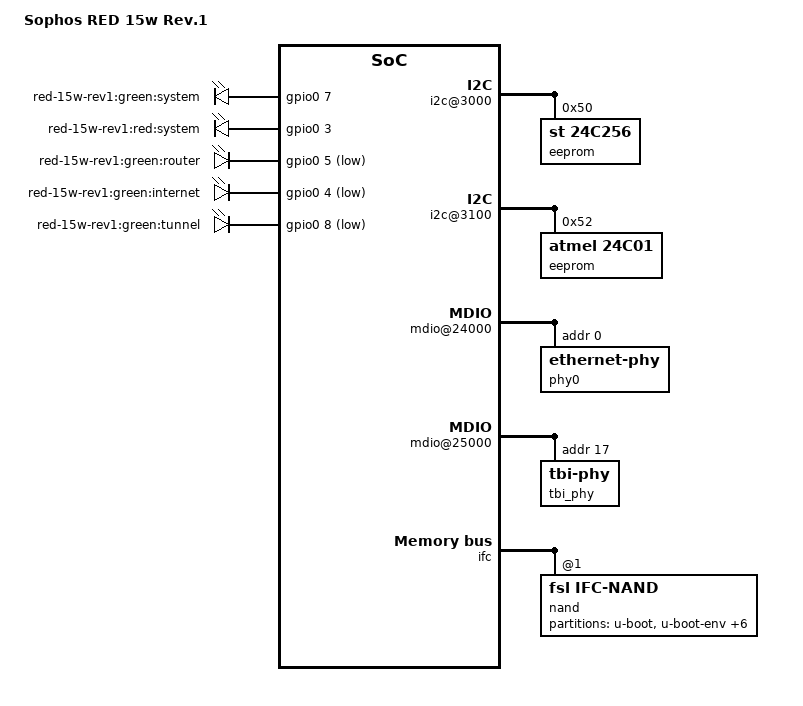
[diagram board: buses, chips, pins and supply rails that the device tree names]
// SPDX-License-Identifier: GPL-2.0-or-later or MIT

/include/ "fsl/p1010si-pre.dtsi"

/ {
	model = "Sophos RED 15w Rev.1";
	compatible = "sophos,red-15w-rev1";

	aliases {
		led-boot = &system_green;
		led-failsafe = &system_red;
		led-running = &system_green;
		led-upgrade = &system_red;
	};

	memory {
		device_type = "memory";
	};

	leds {
		compatible = "gpio-leds";

		system_green: system_green {
			gpios = <&gpio0 7 0>;
			label = "red-15w-rev1:green:system";
		};

		system_red: system_red {
			gpios = <&gpio0 3 0>;
			label = "red-15w-rev1:red:system";
		};

		router {
			gpios = <&gpio0 5 1>;
			label = "red-15w-rev1:green:router";
		};

		internet {
			gpios = <&gpio0 4 1>;
			label = "red-15w-rev1:green:internet";
		};

		tunnel {
			gpios = <&gpio0 8 1>;
			label = "red-15w-rev1:green:tunnel";
		};
	};

	soc: soc@ffe00000 {
		ranges = <0x0 0x0 0xffe00000 0x100000>;

		i2c@3000 {
			eeprom@50 {
				compatible = "st,24c256";
				reg = <0x50>;
			};
		};

		i2c@3100 {
			eeprom@52 {
				compatible = "atmel,24c01";
				reg = < 0x52 >;
			};
		};

		gpio0: gpio-controller@fc00 {
		};

		usb@22000 {
			phy_type = "utmi";
			dr_mode = "host";
		};

		mdio@24000 {
			phy0: ethernet-phy@0 {
				reg = <0x0>;
			};
		};

		mdio@25000 {
			tbi_phy: tbi-phy@11 {
				reg = <0x11>;
			};
		};

		mdio@26000 {
			status = "disabled";
		};

		enet0: ethernet@b0000 {
			phy-connection-type = "rgmii-id";

			fixed-link {
				speed = <1000>;
				full-duplex;
			};
		};

		enet1: ethernet@b1000 {
			phy-handle = <&phy0>;
			phy-connection-type = "sgmii";

			tbi-handle = <&tbi_phy>;
		};

		enet2: ethernet@b2000 {
			status = "disabled";
		};

		sdhc@2e000 {
			status = "disabled";
		};
	};

	ifc: ifc@ffe1e000 {
		reg = <0x0 0xffe1e000 0 0x2000>;

		/* NOR, NAND Flashes and CPLD on board */
		ranges = <0x0 0x0 0x0 0xee000000 0x02000000
			0x1 0x0 0x0 0xff800000 0x00010000
			0x3 0x0 0x0 0xffb00000 0x00000020>;

		nand@1,0 {
			compatible = "fsl,ifc-nand";
			reg = <0x1 0x0 0x10000>;

			partitions {
				compatible = "fixed-partitions";
				#address-cells = <1>;
				#size-cells = <1>;

				/*
				 * Original partition layout:
				 * 0x000000000000-0x000000100000 : "NAND U-Boot Image"
				 * 0x000000100000-0x000000200000 : "NAND U-Boot Environment"
				 * 0x000000200000-0x000000300000 : "Provisioning"
				 *  - OS-Image 1
				 * 0x000000300000-0x000000400000 : "fdt1"
				 * 0x000000400000-0x000000c00000 : "uimage1"
				 * 0x000000c00000-0x000001c00000 : "rootfs1"
				 *  - OS-Image 2
				 * 0x000001c00000-0x000001d00000 : "fdt2"
				 * 0x000001d00000-0x000002500000 : "uimage2"
				 * 0x000002500000-0x000003500000 : "rootfs2"
				 *  - Empty
				 * 0x000003500000-0x000008000000 : "data"
				 */

				partition@0 {
					reg = <0x0 0x100000>;
					label = "u-boot";
					read-only;
				};

				partition@100000 {
					reg = <0x100000 0x100000>;
					label = "u-boot-env";
				};

				partition@200000 {
					reg = <0x200000 0x100000>;
					label = "provisioning";
					read-only;
				};

				partition@300000 {
					reg = <0x300000 0x800000>;
					label = "kernel";
				};

				partition@b00000 {
					reg = <0xb00000 0x7500000>;
					label = "ubi";
				};

				oem-partition@300000 {
					reg = <0x300000 0x1900000>;
					label = "sophos-os1";
				};

				oem-partition@1c00000 {
					reg = <0x1c00000 0x1900000>;
					label = "sophos-os2";
				};

				oem-partition@3500000 {
					reg = <0x3500000 0x4b00000>;
					label = "sophos-data";
				};
			};
		};
	};

	pci0: pcie@ffe09000 {
		status = "disabled";
	};

	pci1: pcie@ffe0a000 {
		reg = <0 0xffe0a000 0 0x1000>;
		ranges = <0x2000000 0x0 0x80000000 0 0x80000000 0x0 0x20000000
			  0x1000000 0x0 0x00000000 0 0xffc00000 0x0 0x10000>;
		pcie@0 {
			ranges = <0x2000000 0x0 0x80000000
				  0x2000000 0x0 0x80000000
				  0x0 0x20000000

				  0x1000000 0x0 0x0
				  0x1000000 0x0 0x0
				  0x0 0x100000>;
		};
	};
};

/include/ "fsl/p1010si-post.dtsi"
